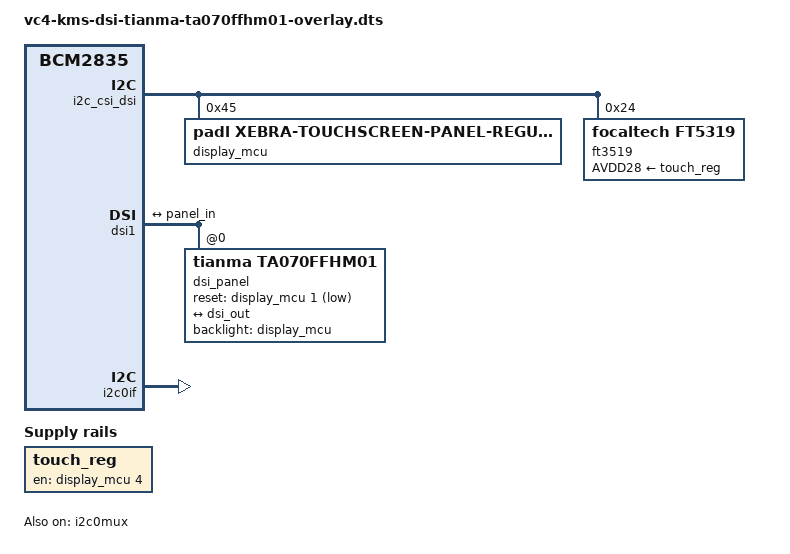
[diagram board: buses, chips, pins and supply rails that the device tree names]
/*
 * vc4-kms-dsi-tianma-ta070ffhm01-overlay.dts
 *
 * Tianma TA070FFHM01 touchscreen display panel
 */

/dts-v1/;
/plugin/;

#include <dt-bindings/gpio/gpio.h>

/ {
	compatible = "brcm,bcm2835";

	i2c_frag: fragment@0 {
		target = <&i2c_csi_dsi>;
		__overlay__ {
			#address-cells = <1>;
			#size-cells = <0>;
			status = "okay";

			display_mcu: display_mcu@45 {
				compatible = "padl,xebra-touchscreen-panel-regulator";
				reg = <0x45>;
				gpio-controller;
				#gpio-cells = <2>;
			};

			ft3519: ft3519@24 {
				compatible = "focaltech,ft5319";
				reg = <0x24>;
				AVDD28-supply = <&touch_reg>;
				touchscreen-size-x = <1080>;
				touchscreen-size-y = <1920>;
				touchscreen-x-mm = <86>;
				touchscreen-y-mm = <154>;
			};
		};
	};

	dsi_frag: fragment@1 {
		target = <&dsi1>;
		__overlay__ {
			#address-cells = <1>;
			#size-cells = <0>;
			status = "okay";

			port {
				dsi_out: endpoint {
					remote-endpoint = <&panel_in>;
				};
			};

			dsi_panel: dsi_panel@0 {
				reg = <0>;
				compatible = "tianma,ta070ffhm01";
				reset-gpio = <&display_mcu 1 GPIO_ACTIVE_LOW>; /* LCD_RST */
				backlight = <&display_mcu>;

				port {
					panel_in: endpoint {
						remote-endpoint = <&dsi_out>;
					};
				};
			};
		};
	};

	fragment@2 {
		target = <&i2c0if>;
		__overlay__ {
			status = "okay";
		};
	};

	fragment@3 {
		target = <&i2c0mux>;
		__overlay__ {
			status = "okay";
		};
	};

	fragment@4 {
		target-path = "/";
		__overlay__ {
			touch_reg: touch_reg@1 {
				reg = <1>;
				compatible = "regulator-fixed";
				regulator-name = "touch_reg_1";
				gpio = <&display_mcu 4 GPIO_ACTIVE_HIGH>;
				startup-delay-us = <50000>;
				enable-active-high;
			};
		};
	};

	fragment@10 {
		target = <&gt911>;
		__dormant__ {
			touchscreen-inverted-x;
		};
	};

	fragment@11 {
		target = <&gt911>;
		__dormant__ {
			touchscreen-inverted-y;
		};
	};

	__overrides__ {
		dsi0 = <&dsi_frag>, "target:0=",<&dsi0>,
		       <&i2c_frag>, "target:0=",<&i2c_csi_dsi0>,
		       <&touch_reg>, "reg:0=0",
		       <&touch_reg>, "regulator-name=touch_reg_0";
		sizex = <&gt911>,"touchscreen-size-x:0";
		sizey = <&gt911>,"touchscreen-size-y:0";
		invx = <0>, "+10";
		invy = <0>, "+11";
		swapxy = <&gt911>,"touchscreen-swapped-x-y?";
		disable_touch = <&gt911>, "status=disabled";
		rotation = <&dsi_panel>, "rotation:0";
	};
};
